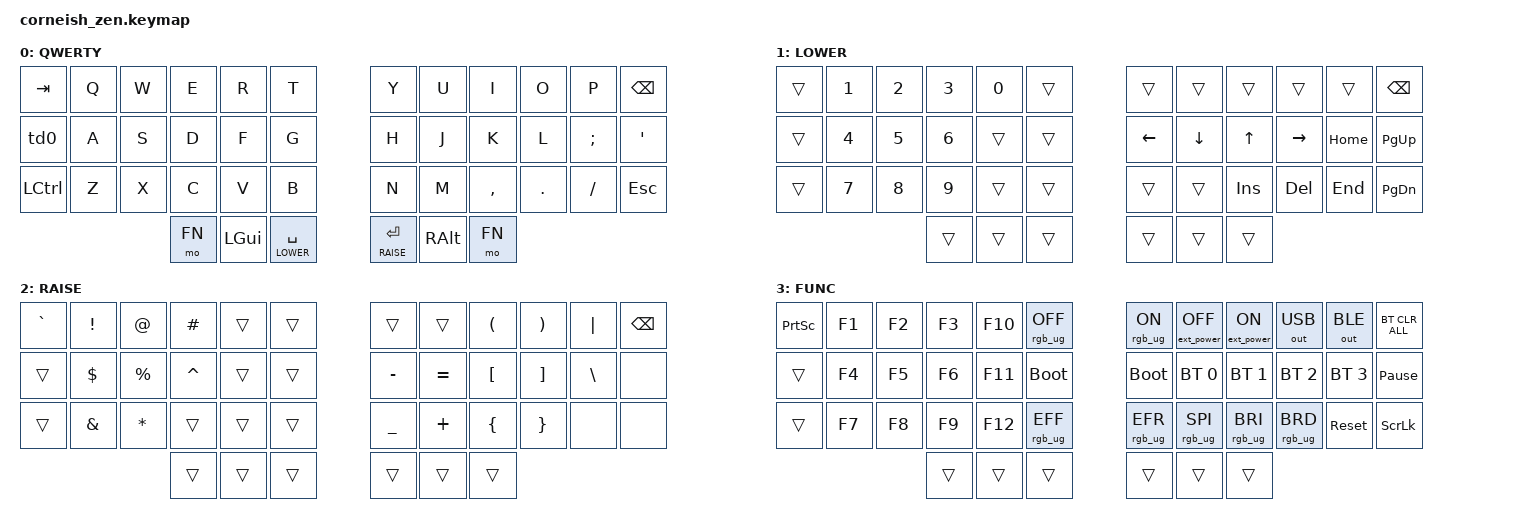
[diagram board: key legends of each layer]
/*
 * Copyright (c) 2020 The ZMK Contributors
 *
 * SPDX-License-Identifier: MIT
 */

#include <behaviors.dtsi>
#include <dt-bindings/zmk/bt.h>
#include <dt-bindings/zmk/ext_power.h>
#include <dt-bindings/zmk/keys.h>
#include <dt-bindings/zmk/outputs.h>
#include <dt-bindings/zmk/rgb.h>

#define DEFAULT 0
#define LOWER   1
#define RAISE   2
#define FN      3

/ {
    chosen {
        zmk,matrix_transform = &default_transform;

        // zmk,matrix_transform = &five_column_transform;
    };
};

/ {
    behaviors {
        td0: td0 {
            compatible = "zmk,behavior-tap-dance";
            label = "TD0";
            #binding-cells = <0>;
            bindings = <&kp LEFT_SHIFT>, <&kp CAPS>;
        };
    };

    keymap {
        compatible = "zmk,keymap";

        default_layer {
            display-name = "QWERTY";

            // --------------------------------------------------------------------------------
            // |  TAB |  Q  |  W  |  E  |  R  |  T  |   |  Y  |  U   |  I  |  O  |  P  | BKSP |
            // | SHFT |  A  |  S  |  D  |  F  |  G  |   |  H  |  J   |  K  |  L  |  ;  |  '   |
            // | CTRL |  Z  |  X  |  C  |  V  |  B  |   |  N  |  M   |  ,  |  .  |  /  | ESC  |
            //                    |  FN | LWR | SPC |   | ENT | ALT  | FN  |

            bindings = <
&kp TAB    &kp Q  &kp W  &kp E     &kp R    &kp T              &kp Y            &kp U     &kp I      &kp O    &kp P     &kp BSPC
&td0       &kp A  &kp S  &kp D     &kp F    &kp G              &kp H            &kp J     &kp K      &kp L    &kp SEMI  &kp SQT
&kp LCTRL  &kp Z  &kp X  &kp C     &kp V    &kp B              &kp N            &kp M     &kp COMMA  &kp DOT  &kp FSLH  &kp ESC
                         &mo FN    &kp LGUI &lt LOWER SPACE    &lt RAISE ENTER  &kp RALT  &mo FN
            >;
        };

        lower_layer {
            display-name = "LOWER";

            // -----------------------------------------------------------------------------------------
            // |  TAB |  1  |  2  |  3  |  0  |     |   |     |     |     |     |     | BKSP |
            // | SHFT |  4  |  5  |  6  |     |     |   | LFT | DWN |  UP | RGT | HME | PGUP |
            // | CTRL |  7  |  8  |  9  |     |     |   |     |     | INS | DEL | END | PGDN |
            //                    | GUI |     | SPC |   | ENT |     | ALT |

            bindings = <
&trans  &kp N1     &kp N2         &kp N3         &kp N0         &trans           &trans           &trans           &trans           &trans           &trans           &kp BSPC
&trans  &kp N4     &kp N5         &kp N6         &trans         &trans           &kp LEFT         &kp DOWN         &kp UP           &kp RIGHT        &kp HOME         &kp PG_UP
&trans  &kp N7     &kp N8         &kp N9         &trans         &trans           &trans           &trans           &kp INS          &kp DEL          &kp END          &kp PG_DN
                                  &trans         &trans         &trans           &trans           &trans           &trans
            >;
        };

        raise_layer {
            display-name = "RAISE";

            // -----------------------------------------------------------------------------------------
            // | ` ~  |  !  |  @  |  #  |     |     |   |     |     |  (  |  )  | "|" | BKSP |
            // | SHFT |  $  |  %  |  ^  |     |     |   |  -  |  =  |  [  |  ]  |  \  |      |
            // | CTRL |  &  |  *  |     |     |     |   |  _  |  +  |  {  |  }  |     |      |
            //                    | GUI |     | SPC |   | ENT |     | ALT |

            bindings = <
&kp GRAVE       &kp EXCL      &kp AT        &kp HASH      &trans          &trans        &trans        &trans        &kp LPAR        &kp RPAR      &kp PIPE      &kp BSPC
&trans       &kp DLLR      &kp PRCNT     &kp CARET     &trans          &trans        &kp MINUS     &kp EQUAL     &kp LBKT        &kp RBKT      &kp BSLH      &none
&trans          &kp AMPS      &kp ASTRK     &trans        &trans          &trans        &kp UNDER     &kp PLUS      &kp LBRC        &kp RBRC      &none         &none
                                            &trans        &trans          &trans        &trans        &trans        &trans
            >;
        };

        layer_3 {
            display-name = "FUNC";
            bindings = <
&kp PRINTSCREEN &kp F1           &kp F2          &kp F3             &kp F10    &rgb_ug RGB_OFF   &rgb_ug RGB_ON     &ext_power EP_OFF  &ext_power EP_ON  &out OUT_USB      &out OUT_BLE      &bt BT_CLR_ALL
&trans          &kp F4           &kp F5          &kp F6             &kp F11    &bootloader       &bootloader        &bt BT_SEL 0       &bt BT_SEL 1      &bt BT_SEL 2      &bt BT_SEL 3      &kp PAUSE_BREAK
&trans          &kp F7           &kp F8          &kp F9             &kp F12    &rgb_ug RGB_EFF   &rgb_ug RGB_EFR    &rgb_ug RGB_SPI    &rgb_ug RGB_BRI   &rgb_ug RGB_BRD   &sys_reset        &kp SCROLLLOCK
                                                 &trans             &trans     &trans            &trans             &trans             &trans
            >;
        };
    };
};
